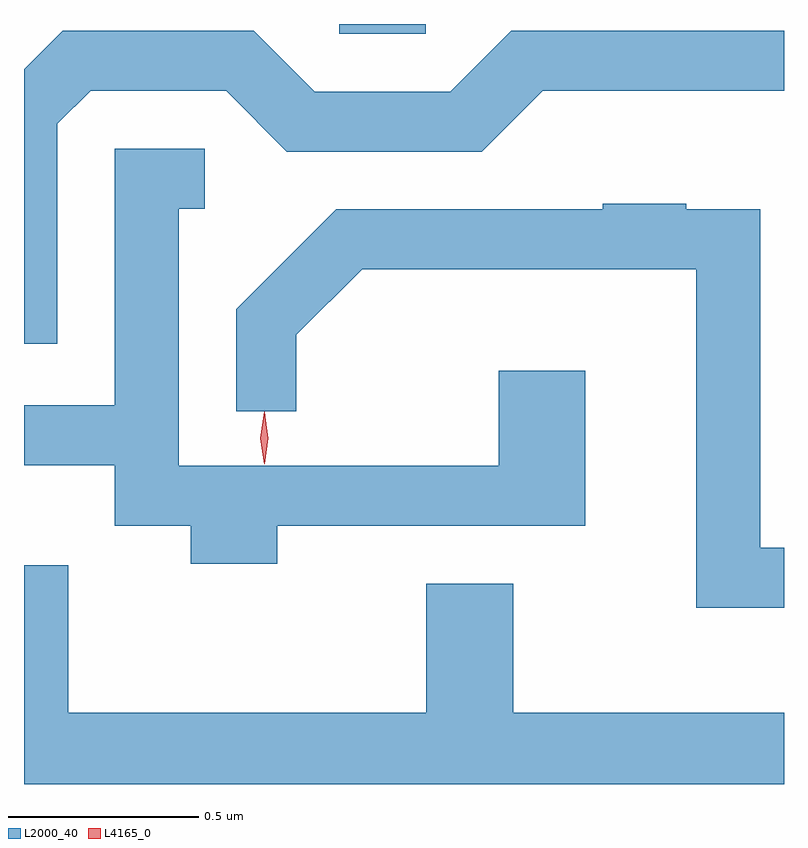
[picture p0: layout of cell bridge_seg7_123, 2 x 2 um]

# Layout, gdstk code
import gdstk
lib = gdstk.Library(unit=1e-6, precision=1e-09)
def R(c, l, rs):  # rectangles x0, y0, x1, y1
    for r in rs: c.add(gdstk.rectangle(r[:2], r[2:], *l))
def P(c, l, *ps):  # polygons
    for p in ps: c.add(gdstk.Polygon(p, *l))
L2000_40 = (2000, 40)
L4165_0 = (4165, 0)

bridge_seg7_123 = lib.new_cell('bridge_seg7_123')
R(bridge_seg7_123, L2000_40, [(1570.401,1776.311,1570.629,1776.337)])
P(bridge_seg7_123, L2000_40, [(1569.659,1776.074),(1569.747,1776.161),(1570.104,1776.161),(1570.264,1776.001),(1570.777,1776.001),(1570.937,1776.161),(1571.572,1776.161),(1571.572,1776.319),(1570.854,1776.319),(1570.694,1776.159),(1570.337,1776.159),(1570.177,1776.319),(1569.674,1776.319),(1569.572,1776.218),(1569.572,1775.496),(1569.659,1775.496)],
  [(1570.239,1775.016),(1571.049,1775.016),(1571.049,1775.424),(1570.821,1775.424),(1570.821,1775.174),(1569.979,1775.174),(1569.979,1775.851),(1570.048,1775.851),(1570.048,1776.009),(1569.811,1776.009),(1569.811,1775.334),(1569.572,1775.334),(1569.572,1775.176),(1569.811,1775.176),(1569.811,1775.016),(1570.011,1775.016),(1570.011,1774.916),(1570.239,1774.916)],
  [(1571.572,1774.959),(1571.509,1774.959),(1571.509,1775.849),(1571.315,1775.849),(1571.315,1775.864),(1571.095,1775.864),(1571.095,1775.849),(1570.394,1775.849),(1570.131,1775.587),(1570.131,1775.318),(1570.289,1775.318),(1570.289,1775.519),(1570.462,1775.691),(1571.341,1775.691),(1571.341,1774.801),(1571.572,1774.801)],
  [(1571.572,1774.524),(1570.859,1774.524),(1570.859,1774.864),(1570.631,1774.864),(1570.631,1774.524),(1569.689,1774.524),(1569.689,1774.913),(1569.572,1774.913),(1569.572,1774.337),(1571.572,1774.337)])
P(bridge_seg7_123, L4165_0, [(1570.204,1775.178),(1570.204,1775.178),(1570.194,1775.247),(1570.204,1775.316),(1570.204,1775.317),(1570.205,1775.316),(1570.214,1775.247),(1570.204,1775.178)],
  [(1570.204,1775.18),(1570.204,1775.18),(1570.195,1775.247),(1570.204,1775.313),(1570.205,1775.313),(1570.205,1775.313),(1570.215,1775.247),(1570.205,1775.18)])

lib.write_gds('bridge_seg7_123.gds')
